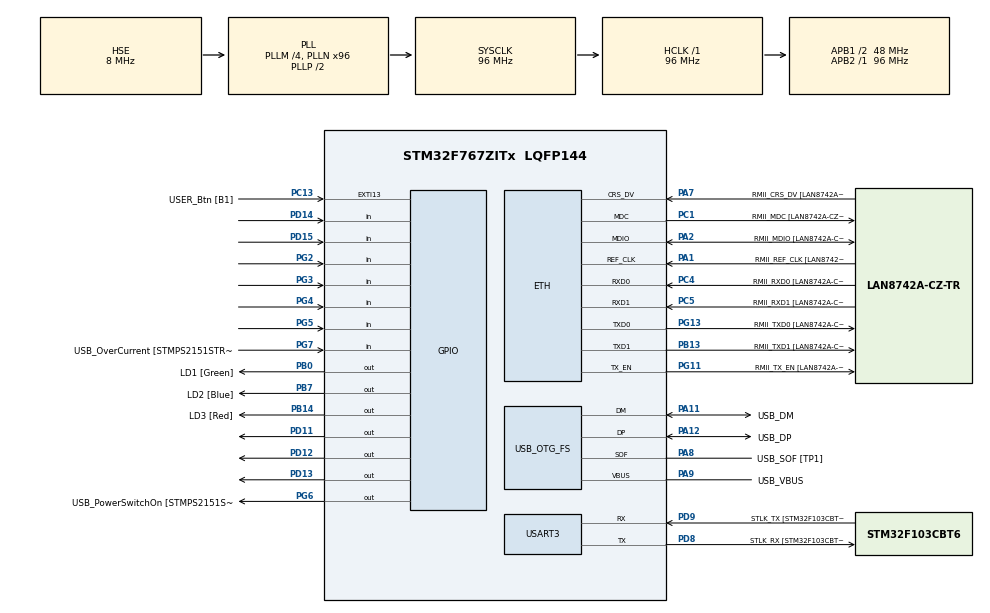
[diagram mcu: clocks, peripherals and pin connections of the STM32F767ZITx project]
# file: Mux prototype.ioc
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ETH.MediaInterface=HAL_ETH_RMII_MODE
ETH.PHY_Name=LAN8742A_PHY_ADDRESS
ETH.PHY_Value=0
ETH.PhyAddress=0
Mcu.Family=STM32F7
Mcu.Name=STM32F767ZITx
Mcu.Package=LQFP144
NVIC.PriorityGroup=NVIC_PRIORITYGROUP_4
PA1.GPIO_Label=RMII_REF_CLK [LAN8742A-CZ-TR_REFCLK0]
PA1.Mode=RMII
PA1.Signal=ETH_REF_CLK
PA10.GPIO_Label=USB_ID
PA10.Signal=USB_OTG_FS_ID
PA11.GPIO_Label=USB_DM
PA11.Mode=Device_Only
PA11.Signal=USB_OTG_FS_DM
PA12.GPIO_Label=USB_DP
PA12.Mode=Device_Only
PA12.Signal=USB_OTG_FS_DP
PA13.GPIO_Label=TMS
PA13.Mode=Serial_Wire
PA13.Signal=SYS_JTMS-SWDIO
PA14.GPIO_Label=TCK
PA14.Mode=Serial_Wire
PA14.Signal=SYS_JTCK-SWCLK
PA2.GPIO_Label=RMII_MDIO [LAN8742A-CZ-TR_MDIO]
PA2.Mode=RMII
PA2.Signal=ETH_MDIO
PA7.GPIO_Label=RMII_CRS_DV [LAN8742A-CZ-TR_CRS_DV]
PA7.Mode=RMII
PA7.Signal=ETH_CRS_DV
PA8.GPIO_Label=USB_SOF [TP1]
PA8.Mode=Activate_SOF_FS
PA8.Signal=USB_OTG_FS_SOF
PA9.GPIO_Label=USB_VBUS
PA9.Mode=Activate_VBUS
PA9.Signal=USB_OTG_FS_VBUS
PB0.GPIO_Label=LD1 [Green]
PB0.Signal=GPIO_Output
PB13.GPIO_Label=RMII_TXD1 [LAN8742A-CZ-TR_TXD1]
PB13.Mode=RMII
PB13.Signal=ETH_TXD1
PB14.GPIO_Label=LD3 [Red]
PB14.Signal=GPIO_Output
PB3.GPIO_Label=SWO
PB3.Signal=SYS_JTDO-SWO
PB7.GPIO_Label=LD2 [Blue]
PB7.Signal=GPIO_Output
PC1.GPIO_Label=RMII_MDC [LAN8742A-CZ-TR_MDC]
PC1.Mode=RMII
PC1.Signal=ETH_MDC
PC13.GPIO_Label=USER_Btn [B1]
PC13.Signal=GPXTI13
PC14/OSC32_IN.Mode=LSE-External-Oscillator
PC14/OSC32_IN.Signal=RCC_OSC32_IN
PC15/OSC32_OUT.Mode=LSE-External-Oscillator
PC15/OSC32_OUT.Signal=RCC_OSC32_OUT
PC4.GPIO_Label=RMII_RXD0 [LAN8742A-CZ-TR_RXD0]
PC4.Mode=RMII
PC4.Signal=ETH_RXD0
PC5.GPIO_Label=RMII_RXD1 [LAN8742A-CZ-TR_RXD1]
PC5.Mode=RMII
PC5.Signal=ETH_RXD1
PD11.Signal=GPIO_Output
PD12.Signal=GPIO_Output
PD13.Signal=GPIO_Output
PD14.Signal=GPIO_Input
PD15.Signal=GPIO_Input
PD8.GPIO_Label=STLK_RX [STM32F103CBT6_PA3]
PD8.Mode=Asynchronous
PD8.Signal=USART3_TX
PD9.GPIO_Label=STLK_TX [STM32F103CBT6_PA2]
PD9.Mode=Asynchronous
PD9.Signal=USART3_RX
PG11.GPIO_Label=RMII_TX_EN [LAN8742A-CZ-TR_TXEN]
PG11.Mode=RMII
PG11.Signal=ETH_TX_EN
PG13.GPIO_Label=RMII_TXD0 [LAN8742A-CZ-TR_TXD0]
PG13.Mode=RMII
PG13.Signal=ETH_TXD0
PG2.Signal=GPIO_Input
PG3.Signal=GPIO_Input
PG4.Signal=GPIO_Input
PG5.Signal=GPIO_Input
PG6.GPIO_Label=USB_PowerSwitchOn [STMPS2151STR_EN]
PG6.Signal=GPIO_Output
PG7.GPIO_Label=USB_OverCurrent [STMPS2151STR_FAULT]
PG7.Signal=GPIO_Input
PH0/OSC_IN.GPIO_Label=MCO [STM32F103CBT6_PA8]
PH0/OSC_IN.Mode=HSE-External-Clock-Source
PH0/OSC_IN.Signal=RCC_OSC_IN
PH1/OSC_OUT.Mode=HSE-External-Clock-Source
PH1/OSC_OUT.Signal=RCC_OSC_OUT
ProjectManager.HeapSize=0x200
ProjectManager.StackSize=0x400
ProjectManager.TargetToolchain=STM32CubeIDE
RCC.48MHZClocksFreq_Value=24000000
RCC.AHBFreq_Value=96000000
RCC.APB1CLKDivider=RCC_HCLK_DIV2
RCC.APB1Freq_Value=48000000
RCC.APB1TimFreq_Value=96000000
RCC.APB2Freq_Value=96000000
RCC.APB2TimFreq_Value=96000000
RCC.CortexFreq_Value=96000000
RCC.HCLKFreq_Value=96000000
RCC.HSE_VALUE=8000000
RCC.HSI_VALUE=16000000
RCC.PLLM=4
RCC.PLLMUL=RCC_PLL_MUL9
RCC.PLLN=96
RCC.PLLQ=4
RCC.PRESCALERUSB=RCC_USBCLKSOURCE_PLL_DIV1_5
RCC.SYSCLKFreq_VALUE=96000000
RCC.SYSCLKSource=RCC_SYSCLKSOURCE_PLLCLK
RCC.SYSCLKSourceVirtual=RCC_SYSCLKSOURCE_PLLCLK
RCC.USBFreq_Value=48000000
RCC.VCOOutputFreq_Value=192000000
USART3.VirtualMode-Asynchronous=VM_ASYNC
USB_OTG_FS.VirtualMode=Device_Only
board=NUCLEO-F767ZI

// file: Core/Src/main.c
/* USER CODE BEGIN Header */
/**
  ******************************************************************************
  * @file           : main.c
  * @brief          : Main program body
  ******************************************************************************
  * @attention
  *
  * Copyright (c) 2024 STMicroelectronics.
  * All rights reserved.
  *
  * This software is licensed under terms that can be found in the LICENSE file
  * in the root directory of this software component.
  * If no LICENSE file comes with this software, it is provided AS-IS.
  *
  ******************************************************************************
  */
/* USER CODE END Header */
#include "main.h"
#include "string.h"

#if defined ( __ICCARM__ ) /*!< IAR Compiler */
#pragma location=0x2007c000
ETH_DMADescTypeDef  DMARxDscrTab[ETH_RX_DESC_CNT]; /* Ethernet Rx DMA Descriptors */
#pragma location=0x2007c0a0
ETH_DMADescTypeDef  DMATxDscrTab[ETH_TX_DESC_CNT]; /* Ethernet Tx DMA Descriptors */

#elif defined ( __CC_ARM )  /* MDK ARM Compiler */

__attribute__((at(0x2007c000))) ETH_DMADescTypeDef  DMARxDscrTab[ETH_RX_DESC_CNT]; /* Ethernet Rx DMA Descriptors */
__attribute__((at(0x2007c0a0))) ETH_DMADescTypeDef  DMATxDscrTab[ETH_TX_DESC_CNT]; /* Ethernet Tx DMA Descriptors */

#elif defined ( __GNUC__ ) /* GNU Compiler */
ETH_DMADescTypeDef DMARxDscrTab[ETH_RX_DESC_CNT] __attribute__((section(".RxDecripSection"))); /* Ethernet Rx DMA Descriptors */
ETH_DMADescTypeDef DMATxDscrTab[ETH_TX_DESC_CNT] __attribute__((section(".TxDecripSection")));   /* Ethernet Tx DMA Descriptors */

#endif

ETH_TxPacketConfig TxConfig;

ETH_HandleTypeDef heth;

UART_HandleTypeDef huart3;

PCD_HandleTypeDef hpcd_USB_OTG_FS;

void SystemClock_Config(void);
static void MX_GPIO_Init(void);
static void MX_ETH_Init(void);
static void MX_USART3_UART_Init(void);
static void MX_USB_OTG_FS_PCD_Init(void);

int main(void)
{
  /* USER CODE BEGIN 1 */

	int intervalTime=4; //in seconds

  /* USER CODE END 1 */

  /* MCU Configuration--------------------------------------------------------*/

  /* Reset of all peripherals, Initializes the Flash interface and the Systick. */
  HAL_Init();

  /* Configure the system clock */
  SystemClock_Config();

  /* Initialize all configured peripherals */
  MX_GPIO_Init();
  MX_ETH_Init();
  MX_USART3_UART_Init();
  MX_USB_OTG_FS_PCD_Init();

  /* Infinite loop */
  /* USER CODE BEGIN WHILE */
  while (1)
  {
	  for(int i=0; i<8;i++){
		  switch(i){
		  case 0:
			  HAL_GPIO_WritePin(GPIOD,GPIO_PIN_13, GPIO_PIN_RESET);
			  HAL_GPIO_WritePin(GPIOD,GPIO_PIN_12, GPIO_PIN_RESET);
			  HAL_GPIO_WritePin(GPIOD,GPIO_PIN_11, GPIO_PIN_RESET);
			  HAL_Delay(intervalTime*1000);
			  break;
		  case 1:
			  HAL_GPIO_WritePin(GPIOD,GPIO_PIN_13, GPIO_PIN_RESET);
			  HAL_GPIO_WritePin(GPIOD,GPIO_PIN_12, GPIO_PIN_RESET);
			  HAL_GPIO_WritePin(GPIOD,GPIO_PIN_11, GPIO_PIN_SET);
			  HAL_Delay(intervalTime*1000);
			  break;
		  case 2:
			  HAL_GPIO_WritePin(GPIOB,GPIO_PIN_13, GPIO_PIN_RESET);
			  HAL_GPIO_WritePin(GPIOB,GPIO_PIN_12, GPIO_PIN_SET);
			  HAL_GPIO_WritePin(GPIOB,GPIO_PIN_11, GPIO_PIN_RESET);
			  HAL_Delay(intervalTime*1000);
			  break;
		  case 3:
			  HAL_GPIO_WritePin(GPIOB,GPIO_PIN_13, GPIO_PIN_RESET);
			  HAL_GPIO_WritePin(GPIOB,GPIO_PIN_12, GPIO_PIN_SET);
			  HAL_GPIO_WritePin(GPIOB,GPIO_PIN_11, GPIO_PIN_SET);
			  HAL_Delay(intervalTime*1000);
			  break;
		  case 4:
			  HAL_GPIO_WritePin(GPIOB,GPIO_PIN_13, GPIO_PIN_SET);
			  HAL_GPIO_WritePin(GPIOB,GPIO_PIN_12, GPIO_PIN_RESET);
			  HAL_GPIO_WritePin(GPIOB,GPIO_PIN_11, GPIO_PIN_RESET);
			  HAL_Delay(intervalTime*1000);
			  break;
		  case 5:
			  HAL_GPIO_WritePin(GPIOB,GPIO_PIN_13, GPIO_PIN_SET);
			  HAL_GPIO_WritePin(GPIOB,GPIO_PIN_12, GPIO_PIN_RESET);
			  HAL_GPIO_WritePin(GPIOB,GPIO_PIN_11, GPIO_PIN_SET);
			  HAL_Delay(intervalTime*1000);
			  break;
		  case 6:
			  HAL_GPIO_WritePin(GPIOB,GPIO_PIN_13, GPIO_PIN_SET);
			  HAL_GPIO_WritePin(GPIOB,GPIO_PIN_12, GPIO_PIN_SET);
			  HAL_GPIO_WritePin(GPIOB,GPIO_PIN_11, GPIO_PIN_RESET);
			  HAL_Delay(intervalTime*1000);
			  break;
		  case 7:
			  HAL_GPIO_WritePin(GPIOB,GPIO_PIN_13, GPIO_PIN_SET);
			  HAL_GPIO_WritePin(GPIOB,GPIO_PIN_12, GPIO_PIN_SET);
			  HAL_GPIO_WritePin(GPIOB,GPIO_PIN_11, GPIO_PIN_SET);
			  HAL_Delay(intervalTime*1000);
			  break;
		  }
	  }

	  //case 0 reset
	  //case 1

    /* USER CODE END WHILE */

  }
}

void SystemClock_Config(void)
{
  RCC_OscInitTypeDef RCC_OscInitStruct = {0};
  RCC_ClkInitTypeDef RCC_ClkInitStruct = {0};

  /** Configure LSE Drive Capability
  */
  HAL_PWR_EnableBkUpAccess();

  /** Configure the main internal regulator output voltage
  */
  __HAL_RCC_PWR_CLK_ENABLE();
  __HAL_PWR_VOLTAGESCALING_CONFIG(PWR_REGULATOR_VOLTAGE_SCALE3);

  /** Initializes the RCC Oscillators according to the specified parameters
  * in the RCC_OscInitTypeDef structure.
  */
  RCC_OscInitStruct.OscillatorType = RCC_OSCILLATORTYPE_HSE;
  RCC_OscInitStruct.HSEState = RCC_HSE_BYPASS;
  RCC_OscInitStruct.PLL.PLLState = RCC_PLL_ON;
  RCC_OscInitStruct.PLL.PLLSource = RCC_PLLSOURCE_HSE;
  RCC_OscInitStruct.PLL.PLLM = 4;
  RCC_OscInitStruct.PLL.PLLN = 96;
  RCC_OscInitStruct.PLL.PLLP = RCC_PLLP_DIV2;
  RCC_OscInitStruct.PLL.PLLQ = 4;
  RCC_OscInitStruct.PLL.PLLR = 2;
  if (HAL_RCC_OscConfig(&RCC_OscInitStruct) != HAL_OK)
  {
    Error_Handler();
  }

  /** Activate the Over-Drive mode
  */
  if (HAL_PWREx_EnableOverDrive() != HAL_OK)
  {
    Error_Handler();
  }

  /** Initializes the CPU, AHB and APB buses clocks
  */
  RCC_ClkInitStruct.ClockType = RCC_CLOCKTYPE_HCLK|RCC_CLOCKTYPE_SYSCLK
                              |RCC_CLOCKTYPE_PCLK1|RCC_CLOCKTYPE_PCLK2;
  RCC_ClkInitStruct.SYSCLKSource = RCC_SYSCLKSOURCE_PLLCLK;
  RCC_ClkInitStruct.AHBCLKDivider = RCC_SYSCLK_DIV1;
  RCC_ClkInitStruct.APB1CLKDivider = RCC_HCLK_DIV2;
  RCC_ClkInitStruct.APB2CLKDivider = RCC_HCLK_DIV1;

  if (HAL_RCC_ClockConfig(&RCC_ClkInitStruct, FLASH_LATENCY_3) != HAL_OK)
  {
    Error_Handler();
  }
}

static void MX_ETH_Init(void)
{

   static uint8_t MACAddr[6];

  heth.Instance = ETH;
  MACAddr[0] = 0x00;
  MACAddr[1] = 0x80;
  MACAddr[2] = 0xE1;
  MACAddr[3] = 0x00;
  MACAddr[4] = 0x00;
  MACAddr[5] = 0x00;
  heth.Init.MACAddr = &MACAddr[0];
  heth.Init.MediaInterface = HAL_ETH_RMII_MODE;
  heth.Init.TxDesc = DMATxDscrTab;
  heth.Init.RxDesc = DMARxDscrTab;
  heth.Init.RxBuffLen = 1524;

  if (HAL_ETH_Init(&heth) != HAL_OK)
  {
    Error_Handler();
  }

  memset(&TxConfig, 0 , sizeof(ETH_TxPacketConfig));
  TxConfig.Attributes = ETH_TX_PACKETS_FEATURES_CSUM | ETH_TX_PACKETS_FEATURES_CRCPAD;
  TxConfig.ChecksumCtrl = ETH_CHECKSUM_IPHDR_PAYLOAD_INSERT_PHDR_CALC;
  TxConfig.CRCPadCtrl = ETH_CRC_PAD_INSERT;

}

static void MX_USART3_UART_Init(void)
{

  huart3.Instance = USART3;
  huart3.Init.BaudRate = 115200;
  huart3.Init.WordLength = UART_WORDLENGTH_8B;
  huart3.Init.StopBits = UART_STOPBITS_1;
  huart3.Init.Parity = UART_PARITY_NONE;
  huart3.Init.Mode = UART_MODE_TX_RX;
  huart3.Init.HwFlowCtl = UART_HWCONTROL_NONE;
  huart3.Init.OverSampling = UART_OVERSAMPLING_16;
  huart3.Init.OneBitSampling = UART_ONE_BIT_SAMPLE_DISABLE;
  huart3.AdvancedInit.AdvFeatureInit = UART_ADVFEATURE_NO_INIT;
  if (HAL_UART_Init(&huart3) != HAL_OK)
  {
    Error_Handler();
  }

}

static void MX_USB_OTG_FS_PCD_Init(void)
{

  hpcd_USB_OTG_FS.Instance = USB_OTG_FS;
  hpcd_USB_OTG_FS.Init.dev_endpoints = 6;
  hpcd_USB_OTG_FS.Init.speed = PCD_SPEED_FULL;
  hpcd_USB_OTG_FS.Init.dma_enable = DISABLE;
  hpcd_USB_OTG_FS.Init.phy_itface = PCD_PHY_EMBEDDED;
  hpcd_USB_OTG_FS.Init.Sof_enable = ENABLE;
  hpcd_USB_OTG_FS.Init.low_power_enable = DISABLE;
  hpcd_USB_OTG_FS.Init.lpm_enable = DISABLE;
  hpcd_USB_OTG_FS.Init.vbus_sensing_enable = ENABLE;
  hpcd_USB_OTG_FS.Init.use_dedicated_ep1 = DISABLE;
  if (HAL_PCD_Init(&hpcd_USB_OTG_FS) != HAL_OK)
  {
    Error_Handler();
  }

}

static void MX_GPIO_Init(void)
{
  GPIO_InitTypeDef GPIO_InitStruct = {0};

  /* GPIO Ports Clock Enable */
  __HAL_RCC_GPIOC_CLK_ENABLE();
  __HAL_RCC_GPIOH_CLK_ENABLE();
  __HAL_RCC_GPIOA_CLK_ENABLE();
  __HAL_RCC_GPIOB_CLK_ENABLE();
  __HAL_RCC_GPIOD_CLK_ENABLE();
  __HAL_RCC_GPIOG_CLK_ENABLE();

  /*Configure GPIO pin Output Level */
  HAL_GPIO_WritePin(GPIOB, LD1_Pin|LD3_Pin|LD2_Pin, GPIO_PIN_RESET);

  /*Configure GPIO pin Output Level */
  HAL_GPIO_WritePin(GPIOD, GPIO_PIN_11|GPIO_PIN_12|GPIO_PIN_13, GPIO_PIN_RESET);

  /*Configure GPIO pin Output Level */
  HAL_GPIO_WritePin(USB_PowerSwitchOn_GPIO_Port, USB_PowerSwitchOn_Pin, GPIO_PIN_RESET);

  /*Configure GPIO pin : USER_Btn_Pin */
  GPIO_InitStruct.Pin = USER_Btn_Pin;
  GPIO_InitStruct.Mode = GPIO_MODE_IT_RISING;
  GPIO_InitStruct.Pull = GPIO_NOPULL;
  HAL_GPIO_Init(USER_Btn_GPIO_Port, &GPIO_InitStruct);

  /*Configure GPIO pins : LD1_Pin LD3_Pin LD2_Pin */
  GPIO_InitStruct.Pin = LD1_Pin|LD3_Pin|LD2_Pin;
  GPIO_InitStruct.Mode = GPIO_MODE_OUTPUT_PP;
  GPIO_InitStruct.Pull = GPIO_NOPULL;
  GPIO_InitStruct.Speed = GPIO_SPEED_FREQ_LOW;
  HAL_GPIO_Init(GPIOB, &GPIO_InitStruct);

  /*Configure GPIO pins : PD11 PD12 PD13 */
  GPIO_InitStruct.Pin = GPIO_PIN_11|GPIO_PIN_12|GPIO_PIN_13;
  GPIO_InitStruct.Mode = GPIO_MODE_OUTPUT_PP;
  GPIO_InitStruct.Pull = GPIO_NOPULL;
  GPIO_InitStruct.Speed = GPIO_SPEED_FREQ_LOW;
  HAL_GPIO_Init(GPIOD, &GPIO_InitStruct);

  /*Configure GPIO pins : PD14 PD15 */
  GPIO_InitStruct.Pin = GPIO_PIN_14|GPIO_PIN_15;
  GPIO_InitStruct.Mode = GPIO_MODE_INPUT;
  GPIO_InitStruct.Pull = GPIO_NOPULL;
  HAL_GPIO_Init(GPIOD, &GPIO_InitStruct);

  /*Configure GPIO pins : PG2 PG3 PG4 PG5
                           USB_OverCurrent_Pin */
  GPIO_InitStruct.Pin = GPIO_PIN_2|GPIO_PIN_3|GPIO_PIN_4|GPIO_PIN_5
                          |USB_OverCurrent_Pin;
  GPIO_InitStruct.Mode = GPIO_MODE_INPUT;
  GPIO_InitStruct.Pull = GPIO_NOPULL;
  HAL_GPIO_Init(GPIOG, &GPIO_InitStruct);

  /*Configure GPIO pin : USB_PowerSwitchOn_Pin */
  GPIO_InitStruct.Pin = USB_PowerSwitchOn_Pin;
  GPIO_InitStruct.Mode = GPIO_MODE_OUTPUT_PP;
  GPIO_InitStruct.Pull = GPIO_NOPULL;
  GPIO_InitStruct.Speed = GPIO_SPEED_FREQ_LOW;
  HAL_GPIO_Init(USB_PowerSwitchOn_GPIO_Port, &GPIO_InitStruct);

}

void Error_Handler(void)
{
  __disable_irq();
  while (1)
  {
  }
}
